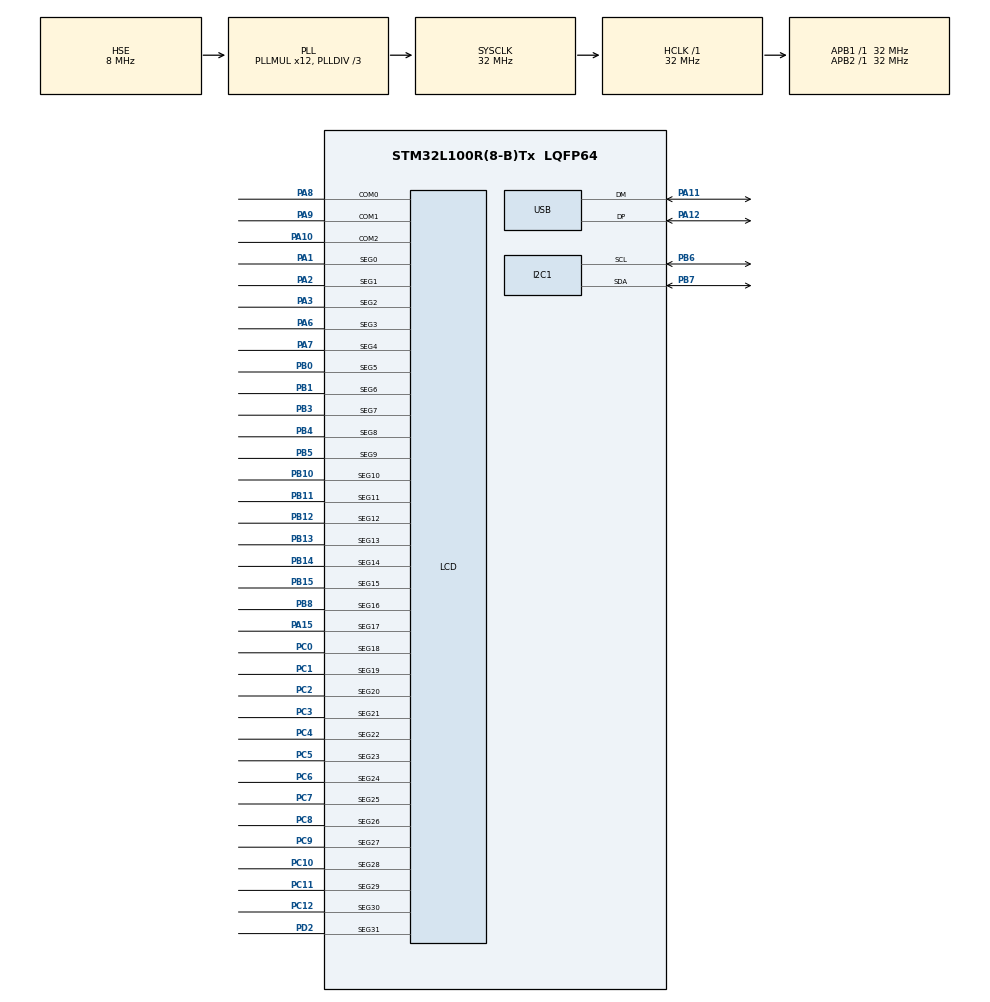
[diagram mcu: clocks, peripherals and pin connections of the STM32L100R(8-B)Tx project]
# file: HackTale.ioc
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LCD.Bias=LCD_BIAS_1_2
LCD.DeadTime=LCD_DEADTIME_5
LCD.PulseOnDuration=LCD_PULSEONDURATION_3
LCD.VoltageSource=LCD_VOLTAGESOURCE_INTERNAL
Mcu.Family=STM32L1
Mcu.Name=STM32L100R(8-B)Tx
Mcu.Package=LQFP64
NVIC.PriorityGroup=NVIC_PRIORITYGROUP_4
NVIC.TIM2_IRQn=true\:0\:0\:false\:false\:true\:true\:true
NVIC.USB_LP_IRQn=true\:0\:0\:false\:false\:true\:false\:true
PA1.Mode=SEG0
PA1.Signal=LCD_SEG0
PA10.Mode=1/3 Duty Cycle
PA10.Signal=LCD_COM2
PA11.Mode=Device
PA11.Signal=USB_DM
PA12.Mode=Device
PA12.Signal=USB_DP
PA13.Mode=Serial_Wire
PA13.Signal=SYS_JTMS-SWDIO
PA14.Mode=Serial_Wire
PA14.Signal=SYS_JTCK-SWCLK
PA15.Mode=SEG17
PA15.Signal=LCD_SEG17
PA2.Mode=SEG1
PA2.Signal=LCD_SEG1
PA3.Mode=SEG2
PA3.Signal=LCD_SEG2
PA6.Mode=SEG3
PA6.Signal=LCD_SEG3
PA7.Mode=SEG4
PA7.Signal=LCD_SEG4
PA8.Mode=1/3 Duty Cycle
PA8.Signal=LCD_COM0
PA9.Mode=1/3 Duty Cycle
PA9.Signal=LCD_COM1
PB0.Mode=SEG5
PB0.Signal=LCD_SEG5
PB1.Mode=SEG6
PB1.Signal=LCD_SEG6
PB10.Mode=SEG10
PB10.Signal=LCD_SEG10
PB11.Mode=SEG11
PB11.Signal=LCD_SEG11
PB12.Mode=SEG12
PB12.Signal=LCD_SEG12
PB13.Mode=SEG13
PB13.Signal=LCD_SEG13
PB14.Mode=SEG14
PB14.Signal=LCD_SEG14
PB15.Mode=SEG15
PB15.Signal=LCD_SEG15
PB3.Mode=SEG7
PB3.Signal=LCD_SEG7
PB4.Mode=SEG8
PB4.Signal=LCD_SEG8
PB5.Mode=SEG9
PB5.Signal=LCD_SEG9
PB6.Mode=I2C
PB6.Signal=I2C1_SCL
PB7.Mode=I2C
PB7.Signal=I2C1_SDA
PB8.Mode=SEG16
PB8.Signal=LCD_SEG16
PC0.Mode=SEG18
PC0.Signal=LCD_SEG18
PC1.Mode=SEG19
PC1.Signal=LCD_SEG19
PC10.Mode=SEG28
PC10.Signal=LCD_SEG28
PC11.Mode=SEG29
PC11.Signal=LCD_SEG29
PC12.Mode=SEG30
PC12.Signal=LCD_SEG30
PC14-OSC32_IN.Mode=LSE-External-Oscillator
PC14-OSC32_IN.Signal=RCC_OSC32_IN
PC15-OSC32_OUT.Mode=LSE-External-Oscillator
PC15-OSC32_OUT.Signal=RCC_OSC32_OUT
PC2.Mode=SEG20
PC2.Signal=LCD_SEG20
PC3.Mode=SEG21
PC3.Signal=LCD_SEG21
PC4.Mode=SEG22
PC4.Signal=LCD_SEG22
PC5.Mode=SEG23
PC5.Signal=LCD_SEG23
PC6.Mode=SEG24
PC6.Signal=LCD_SEG24
PC7.Mode=SEG25
PC7.Signal=LCD_SEG25
PC8.Mode=SEG26
PC8.Signal=LCD_SEG26
PC9.Mode=SEG27
PC9.Signal=LCD_SEG27
PD2.Mode=SEG31
PD2.Signal=LCD_SEG31
PH0-OSC_IN.Mode=HSE-External-Oscillator
PH0-OSC_IN.Signal=RCC_OSC_IN
PH1-OSC_OUT.Mode=HSE-External-Oscillator
PH1-OSC_OUT.Signal=RCC_OSC_OUT
ProjectManager.HeapSize=0x200
ProjectManager.StackSize=0x400
ProjectManager.TargetToolchain=STM32CubeIDE
RCC.48MHZClocksFreq_Value=48000000
RCC.AHBFreq_Value=32000000
RCC.APB1Freq_Value=32000000
RCC.APB1TimFreq_Value=32000000
RCC.APB2Freq_Value=32000000
RCC.APB2TimFreq_Value=32000000
RCC.HCLKFreq_Value=32000000
RCC.HSE_VALUE=8000000
RCC.HSI_VALUE=16000000
RCC.MSI_VALUE=2097000
RCC.PLLDIV=RCC_PLL_DIV3
RCC.PLLMUL=RCC_PLL_MUL12
RCC.RTCClockSelection=RCC_RTCCLKSOURCE_LSE
RCC.RTCClockSelectionVirtual=RCC_RTCCLKSOURCE_LSE
RCC.SYSCLKFreq_VALUE=32000000
RCC.SYSCLKSource=RCC_SYSCLKSOURCE_PLLCLK
RCC.VCOOutputFreq_Value=96000000
TIM2.AutoReloadPreload=TIM_AUTORELOAD_PRELOAD_DISABLE
TIM2.Period=999
TIM2.Prescaler=31999
USB_DEVICE.CLASS_NAME_FS=CDC
USB_DEVICE.VirtualMode=Cdc
USB_DEVICE.VirtualModeFS=Cdc_FS
VP_RTC_VS_RTC_Activate.Mode=RTC_Enabled
VP_TIM2_VS_ClockSourceINT.Mode=Internal
VP_USB_DEVICE_VS_USB_DEVICE_CDC_FS.Mode=CDC_FS
board=custom

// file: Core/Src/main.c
/* USER CODE BEGIN Header */
/**
  ******************************************************************************
  * @file           : main.c
  * @brief          : Main program body
  ******************************************************************************
  * @attention
  *
  * <h2><center>&copy; Copyright (c) 2020 STMicroelectronics.
  * All rights reserved.</center></h2>
  *
  * This software component is licensed by ST under BSD 3-Clause license,
  * the "License"; You may not use this file except in compliance with the
  * License. You may obtain a copy of the License at:
  *                        opensource.org/licenses/BSD-3-Clause
  *
  ******************************************************************************
  */
/* USER CODE END Header */

#include "main.h"
#include "usb_device.h"

I2C_HandleTypeDef hi2c1;

LCD_HandleTypeDef hlcd;

RTC_HandleTypeDef hrtc;

TIM_HandleTypeDef htim2;

void SystemClock_Config(void);
static void MX_GPIO_Init(void);
static void MX_I2C1_Init(void);
static void MX_LCD_Init(void);
static void MX_RTC_Init(void);
static void MX_TIM2_Init(void);

/* USER CODE BEGIN 0 */
void delay() {
	volatile int x = 1000000;
	while (x--);
}

#define LCD_SEG_THOUSANDS (24)
#define LCD_SEG_DEG (18)
#define LCD_SEG_C (2*32+18)
#define LCD_SEG_F (1*32+18)
#define LCD_SEG_DP1 (1*32+21)
#define LCD_SEG_DP2 (1*32+5)
#define LCD_SEG_DP3 (1*32+24)
#define LCD_SEG_NEG (1*32+25)

void lcd_disp_seg(int seg, int on) {
	uint32_t com = (seg / 32) * 2;
	seg = seg % 32;
	HAL_LCD_Write(&hlcd, com, ~(1ul << seg), on << seg);
}

// number -1 means clear
void lcd_disp_digit(int position, int number) {
	// masks are not in the lut, masks would always be the same as digit 8
	uint32_t digit_lut[3*10*3] = {
		// 0
		(1 << 15),
		(1 << 15) | (1 << 6) | (1 << 10),
		(1 << 15) | (1 << 10),
		// 1
		0,
		(1 << 6) | (1 << 10),
		0,
		// 2
		(1 << 10) | (1 << 15),
		(1 << 6),
		(1 << 15) | (1 << 10),
		// 3
		(1 << 10) | (1 << 15),
		(1 << 6) | (1 << 10),
		(1 << 10),
		// 4
		(1 << 10),
		(1 << 15) | (1 << 6) | (1 << 10),
		0,
		// 5
		(1 << 10) | (1 << 15),
		(1 << 15) | (1 << 10),
		(1 << 10),
		// 6
		(1 << 10) | (1 << 15),
		(1 << 15) | (1 << 10),
		(1 << 15) | (1 << 10),
		// 7
		(1 << 15),
		(1 << 6) | (1 << 10),
		0,
		// 8
		(1 << 10) | (1 << 15),
		(1 << 15) | (1 << 6) | (1 << 10),
		(1 << 15) | (1 << 10),
		// 9
		(1 << 10) | (1 << 15),
		(1 << 15) | (1 << 6) | (1 << 10),
		(1 << 10),
		// 0
		(1 << 6) | (1 << 5),
		(1 << 22) | (1 << 23),
		(1 << 6) | (1 << 23),
		// 1
		0,
		(1 << 22) | (1 << 23),
		0,
		// 2
		(1 << 6) | (1 << 5) | (1 << 23),
		(1 << 22),
		(1 << 23),
		// 3
		(1 << 6) | (1 << 23),
		(1 << 22) | (1 << 23),
		(1 << 23),
		// 4
		(1 << 23),
		(1 << 22) | (1 << 23),
		(1 << 6),
		// 5
		(1 << 6) | (1 << 23),
		(1 << 23),
		(1 << 6) | (1 << 23),
		// 6
		(1 << 6) | (1 << 5) | (1 << 23),
		(1 << 23),
		(1 << 6) | (1 << 23),
		// 7
		(1 << 6),
		(1 << 22) | (1 << 23),
		0,
		// 8
		(1 << 6) | (1 << 5) | (1 << 23),
		(1 << 22) | (1 << 23),
		(1 << 6) | (1 << 23),
		// 9
		(1 << 6) | (1 << 23),
		(1 << 22) | (1 << 23),
		(1 << 6) | (1 << 23),
		// 0
		(1 << 22) | (1 << 21),
		(1 << 19) | (1 << 20),
		(1 << 20) | (1 << 22),
		// 1
		0,
		(1 << 19) | (1 << 20),
		0,
		// 2
		(1 << 22) | (1 << 20) | (1 << 21),
		(1 << 19),
		(1 << 20),
		// 3
		(1 << 22) | (1 << 20),
		(1 << 19) | (1 << 20),
		(1 << 20),
		// 4
		(1 << 20),
		(1 << 19) | (1 << 20),
		(1 << 22),
		// 5
		(1 << 22) | (1 << 20),
		(1 << 20),
		(1 << 20) | (1 << 22),
		// 6
		(1 << 22) | (1 << 20) | (1 << 21),
		(1 << 20),
		(1 << 20) | (1 << 22),
		// 7
		(1 << 22),
		(1 << 19) | (1 << 20),
		0,
		// 8
		(1 << 22) | (1 << 20) | (1 << 21),
		(1 << 19) | (1 << 20),
		(1 << 20) | (1 << 22),
		// 9
		(1 << 22) | (1 << 20),
		(1 << 19) | (1 << 20),
		(1 << 20) | (1 << 22),
	};

	if (number != -1) {
		// set
		HAL_LCD_Write(&hlcd, 0, ~digit_lut[position*30+8*3+0],
				digit_lut[position*30+number*3+0]);
		HAL_LCD_Write(&hlcd, 2, ~digit_lut[position*30+8*3+1],
				digit_lut[position*30+number*3+1]);
		HAL_LCD_Write(&hlcd, 4, ~digit_lut[position*30+8*3+2],
				digit_lut[position*30+number*3+2]);
	}
	else {
		// clear
		HAL_LCD_Write(&hlcd, 0, ~digit_lut[position*30+8*3+0], 0);
		HAL_LCD_Write(&hlcd, 2, ~digit_lut[position*30+8*3+1], 0);
		HAL_LCD_Write(&hlcd, 4, ~digit_lut[position*30+8*3+2], 0);
	}

}

void lcd_disp_number(int num) {
	int thousands = num / 1000;
	int hundreds = num % 1000 / 100;
	int tens = num % 100 / 10;
	int ones = num % 10;
	if (thousands)
		lcd_disp_seg(LCD_SEG_THOUSANDS, 1);
	else
		lcd_disp_seg(LCD_SEG_THOUSANDS, 0);

	if ((thousands != 0) || (hundreds != 0))
		lcd_disp_digit(0, hundreds);
	else
		lcd_disp_digit(0, -1);

	if ((thousands != 0) || (hundreds != 0) || (tens != 0))
		lcd_disp_digit(1, tens);
	else
		lcd_disp_digit(1, -1);

	lcd_disp_digit(2, ones);
}

uint16_t tmp_read(uint8_t addr) {
	uint8_t startAddr = addr; // Temperature Register
	uint8_t buffer[2];

	if (HAL_I2C_Master_Transmit(&hi2c1, 0x48 << 1, &startAddr, 1, HAL_MAX_DELAY) != HAL_OK)
		return 0;
	if (HAL_I2C_Master_Receive(&hi2c1, 0x48 << 1, buffer, 2, HAL_MAX_DELAY) != HAL_OK)
		return 0;

	uint16_t temp = (buffer[0] << 8) | (buffer[1] & 0xff);

	return temp;
}

void tmp_write(uint8_t addr, uint16_t value) {
	//uint8_t startAddr = addr; // Temperature Register
	uint8_t buffer[3];
	buffer[0] = addr;
	buffer[1] = (value >> 8) & 0xff;
	buffer[2] = value & 0xff;

	if (HAL_I2C_Master_Transmit(&hi2c1, 0x48 << 1, buffer, 3, HAL_MAX_DELAY) != HAL_OK)
		return;
}

int temp_conv(uint16_t temp) {
	int16_t raw = (int16_t)temp;
	raw = raw >> 4; // 12 bit, sign extension
	float ft = (float)raw * 0.0625f * 10.0f;
	int it = (int)ft;
	return it;
}

void disp_temp(int it) {
	lcd_disp_number(abs(it));
	lcd_disp_seg(LCD_SEG_NEG, (it < 0) ? 1 : 0);
	HAL_LCD_UpdateDisplayRequest(&hlcd);
}

void send_temp(int it) {
	char buf[32];
	int len = snprintf(buf, 32, "%d.%d\n", it / 10, abs(it % 10));
	if (len >= 32) len = 31; // truncated
	CDC_Transmit_FS(buf, len);
}

void HAL_TIM_PeriodElapsedCallback(TIM_HandleTypeDef *htim)
{
	int16_t it = temp_conv(tmp_read(0x00));
	disp_temp(it);
	send_temp(it);
}

/* USER CODE END 0 */

int main(void)
{

  /* MCU Configuration--------------------------------------------------------*/

  /* Reset of all peripherals, Initializes the Flash interface and the Systick. */
  HAL_Init();

  /* Configure the system clock */
  SystemClock_Config();

  /* Initialize all configured peripherals */
  MX_GPIO_Init();
  MX_I2C1_Init();
  MX_LCD_Init();
  MX_USB_DEVICE_Init();
  MX_RTC_Init();
  MX_TIM2_Init();
  /* USER CODE BEGIN 2 */

	HAL_LCD_Clear(&hlcd);
	lcd_disp_seg(LCD_SEG_DEG, 1);
	lcd_disp_seg(LCD_SEG_C, 1);
	lcd_disp_seg(LCD_SEG_DP1, 1);

	uint16_t val = tmp_read(0x00);
	printf("0x%x", val);
	tmp_write(0x01, 0x6040);
	val = tmp_read(0x01);
	printf("0x%x", val);

	/* Start Channel1 */
	if (HAL_TIM_Base_Start_IT(&htim2) != HAL_OK)
	{
		// error?
	}

  __HAL_SYSCFG_USBPULLUP_ENABLE();
  /* USER CODE END 2 */

  /* Infinite loop */
  /* USER CODE BEGIN WHILE */
  while (1)
  {
	  //asm("wfe");
	  /*for (int i = 0; i < 1000; i++) {
		  lcd_disp_number(i);
		  HAL_LCD_UpdateDisplayRequest(&hlcd);
		  delay();
	  }*/
    /* USER CODE END WHILE */

  }
}

void SystemClock_Config(void)
{
  RCC_OscInitTypeDef RCC_OscInitStruct = {0};
  RCC_ClkInitTypeDef RCC_ClkInitStruct = {0};
  RCC_PeriphCLKInitTypeDef PeriphClkInit = {0};

  /** Configure the main internal regulator output voltage
  */
  __HAL_PWR_VOLTAGESCALING_CONFIG(PWR_REGULATOR_VOLTAGE_SCALE1);
  /** Initializes the CPU, AHB and APB busses clocks
  */
  RCC_OscInitStruct.OscillatorType = RCC_OSCILLATORTYPE_HSE|RCC_OSCILLATORTYPE_LSE;
  RCC_OscInitStruct.HSEState = RCC_HSE_ON;
  RCC_OscInitStruct.LSEState = RCC_LSE_ON;
  RCC_OscInitStruct.PLL.PLLState = RCC_PLL_ON;
  RCC_OscInitStruct.PLL.PLLSource = RCC_PLLSOURCE_HSE;
  RCC_OscInitStruct.PLL.PLLMUL = RCC_PLL_MUL12;
  RCC_OscInitStruct.PLL.PLLDIV = RCC_PLL_DIV3;
  if (HAL_RCC_OscConfig(&RCC_OscInitStruct) != HAL_OK)
  {
    Error_Handler();
  }
  /** Initializes the CPU, AHB and APB busses clocks
  */
  RCC_ClkInitStruct.ClockType = RCC_CLOCKTYPE_HCLK|RCC_CLOCKTYPE_SYSCLK
                              |RCC_CLOCKTYPE_PCLK1|RCC_CLOCKTYPE_PCLK2;
  RCC_ClkInitStruct.SYSCLKSource = RCC_SYSCLKSOURCE_PLLCLK;
  RCC_ClkInitStruct.AHBCLKDivider = RCC_SYSCLK_DIV1;
  RCC_ClkInitStruct.APB1CLKDivider = RCC_HCLK_DIV1;
  RCC_ClkInitStruct.APB2CLKDivider = RCC_HCLK_DIV1;

  if (HAL_RCC_ClockConfig(&RCC_ClkInitStruct, FLASH_LATENCY_1) != HAL_OK)
  {
    Error_Handler();
  }
  PeriphClkInit.PeriphClockSelection = RCC_PERIPHCLK_RTC|RCC_PERIPHCLK_LCD;
  PeriphClkInit.RTCClockSelection = RCC_RTCCLKSOURCE_LSE;
  PeriphClkInit.LCDClockSelection = RCC_RTCCLKSOURCE_LSE;

  if (HAL_RCCEx_PeriphCLKConfig(&PeriphClkInit) != HAL_OK)
  {
    Error_Handler();
  }
}

static void MX_I2C1_Init(void)
{

  hi2c1.Instance = I2C1;
  hi2c1.Init.ClockSpeed = 100000;
  hi2c1.Init.DutyCycle = I2C_DUTYCYCLE_2;
  hi2c1.Init.OwnAddress1 = 0;
  hi2c1.Init.AddressingMode = I2C_ADDRESSINGMODE_7BIT;
  hi2c1.Init.DualAddressMode = I2C_DUALADDRESS_DISABLE;
  hi2c1.Init.OwnAddress2 = 0;
  hi2c1.Init.GeneralCallMode = I2C_GENERALCALL_DISABLE;
  hi2c1.Init.NoStretchMode = I2C_NOSTRETCH_DISABLE;
  if (HAL_I2C_Init(&hi2c1) != HAL_OK)
  {
    Error_Handler();
  }

}

static void MX_LCD_Init(void)
{

  hlcd.Instance = LCD;
  hlcd.Init.Prescaler = LCD_PRESCALER_1;
  hlcd.Init.Divider = LCD_DIVIDER_16;
  hlcd.Init.Duty = LCD_DUTY_1_3;
  hlcd.Init.Bias = LCD_BIAS_1_2;
  hlcd.Init.VoltageSource = LCD_VOLTAGESOURCE_INTERNAL;
  hlcd.Init.Contrast = LCD_CONTRASTLEVEL_0;
  hlcd.Init.DeadTime = LCD_DEADTIME_5;
  hlcd.Init.PulseOnDuration = LCD_PULSEONDURATION_3;
  hlcd.Init.MuxSegment = LCD_MUXSEGMENT_DISABLE;
  hlcd.Init.BlinkMode = LCD_BLINKMODE_OFF;
  hlcd.Init.BlinkFrequency = LCD_BLINKFREQUENCY_DIV8;
  if (HAL_LCD_Init(&hlcd) != HAL_OK)
  {
    Error_Handler();
  }

}

static void MX_RTC_Init(void)
{

  /** Initialize RTC Only
  */
  hrtc.Instance = RTC;
  hrtc.Init.HourFormat = RTC_HOURFORMAT_24;
  hrtc.Init.AsynchPrediv = 127;
  hrtc.Init.SynchPrediv = 255;
  hrtc.Init.OutPut = RTC_OUTPUT_DISABLE;
  hrtc.Init.OutPutPolarity = RTC_OUTPUT_POLARITY_HIGH;
  hrtc.Init.OutPutType = RTC_OUTPUT_TYPE_OPENDRAIN;
  if (HAL_RTC_Init(&hrtc) != HAL_OK)
  {
    Error_Handler();
  }

}

static void MX_TIM2_Init(void)
{

  TIM_ClockConfigTypeDef sClockSourceConfig = {0};
  TIM_MasterConfigTypeDef sMasterConfig = {0};

  htim2.Instance = TIM2;
  htim2.Init.Prescaler = 31999;
  htim2.Init.CounterMode = TIM_COUNTERMODE_UP;
  htim2.Init.Period = 999;
  htim2.Init.ClockDivision = TIM_CLOCKDIVISION_DIV1;
  htim2.Init.AutoReloadPreload = TIM_AUTORELOAD_PRELOAD_DISABLE;
  if (HAL_TIM_Base_Init(&htim2) != HAL_OK)
  {
    Error_Handler();
  }
  sClockSourceConfig.ClockSource = TIM_CLOCKSOURCE_INTERNAL;
  if (HAL_TIM_ConfigClockSource(&htim2, &sClockSourceConfig) != HAL_OK)
  {
    Error_Handler();
  }
  sMasterConfig.MasterOutputTrigger = TIM_TRGO_RESET;
  sMasterConfig.MasterSlaveMode = TIM_MASTERSLAVEMODE_DISABLE;
  if (HAL_TIMEx_MasterConfigSynchronization(&htim2, &sMasterConfig) != HAL_OK)
  {
    Error_Handler();
  }

}

static void MX_GPIO_Init(void)
{

  /* GPIO Ports Clock Enable */
  __HAL_RCC_GPIOC_CLK_ENABLE();
  __HAL_RCC_GPIOH_CLK_ENABLE();
  __HAL_RCC_GPIOA_CLK_ENABLE();
  __HAL_RCC_GPIOB_CLK_ENABLE();
  __HAL_RCC_GPIOD_CLK_ENABLE();

}

void Error_Handler(void)
{
}

/************************ (C) COPYRIGHT STMicroelectronics *****END OF FILE****/
